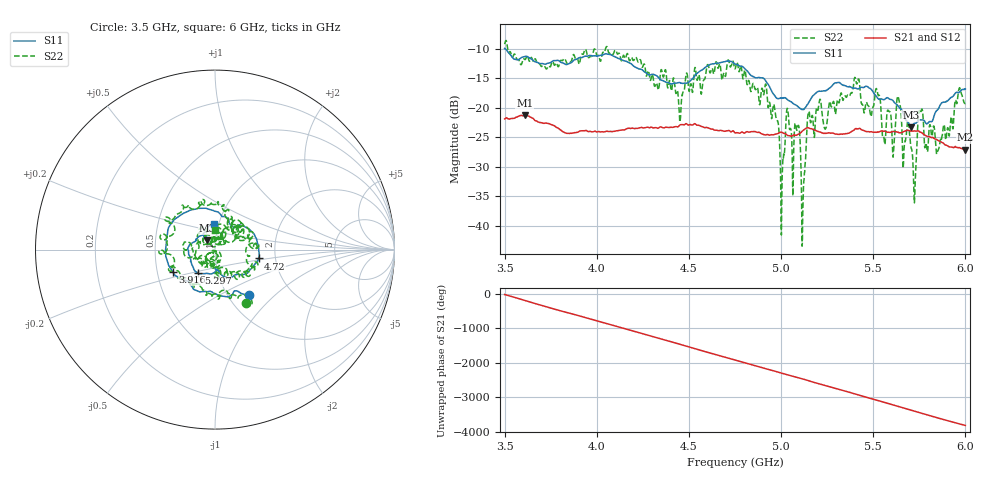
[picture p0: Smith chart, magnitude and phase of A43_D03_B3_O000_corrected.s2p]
! Created with skrf 1.9.0 (http://scikit-rf.org).
# Hz S RI R 50.0
!freq ReS11 ImS11 ReS21 ImS21 ReS12 ImS12 ReS22 ImS22
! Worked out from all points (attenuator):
!   1601 points, 3.5 GHz to 6 GHz, reference 50 ohm
!   highest |S21| = -21.31 dB at 3.609 GHz (marker M1); lowest = -27.1 dB at 6 GHz (marker M2)
!   lowest |S11| = -23.3 dB at 5.703 GHz (marker M3), VSWR 1.15, Z = 45.5 + j4.72 ohm
!   |S11| at or under -10 dB: 3.502 GHz to end of sweep
!   |S22| runs from -43.5 to -8.6 dB; largest |S21 - S12| = 0.00095
!   S11 on the Smith chart (normalised r, x): 3.5 GHz: 1.25, -0.71; 3.916 GHz: 0.60, -0.16; 4.72 GHz: 1.63, -0.17; 5.297 GHz: 0.80, -0.22; 6 GHz: 0.95, +0.28
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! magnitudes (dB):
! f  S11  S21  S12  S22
! 3.5 GHz  -10.0  -21.9  -21.9  -9.2
! 3.609 GHz  -11.3  -21.3  -21.3  -11.8
! 3.916 GHz  -11.5  -24.0  -23.9  -11.2
! 3.917 GHz  -11.5  -23.9  -23.9  -11.0
! 4.334 GHz  -14.9  -23.5  -23.4  -17.0
! 4.455 GHz  -15.8  -22.9  -22.9  -21.5
! 4.72 GHz  -12.1  -23.9  -23.9  -12.6
! 4.75 GHz  -12.6  -24.3  -24.2  -13.4
! 4.969 GHz  -18.1  -24.5  -24.5  -21.0
! 5.006 GHz  -18.4  -24.2  -24.2  -31.4
! 5.034 GHz  -18.6  -24.7  -24.6  -20.1
! 5.088 GHz  -19.7  -24.6  -24.6  -23.6
! 5.12 GHz  -20.3  -23.9  -23.8  -34.9
! 5.145 GHz  -19.4  -23.4  -23.4  -21.3
! 5.167 GHz  -18.2  -23.6  -23.6  -21.4
! 5.297 GHz  -15.8  -24.5  -24.4  -20.8
! 5.584 GHz  -18.5  -24.2  -24.1  -20.5
! 5.703 GHz  -23.3  -24.0  -23.9  -26.4
! 5.723 GHz  -22.6  -23.9  -23.9  -36.1
! 5.756 GHz  -22.1  -24.2  -24.1  -21.0
! 5.852 GHz  -20.3  -25.6  -25.5  -27.3
! 6 GHz  -16.8  -27.1  -27.1  -19.3
